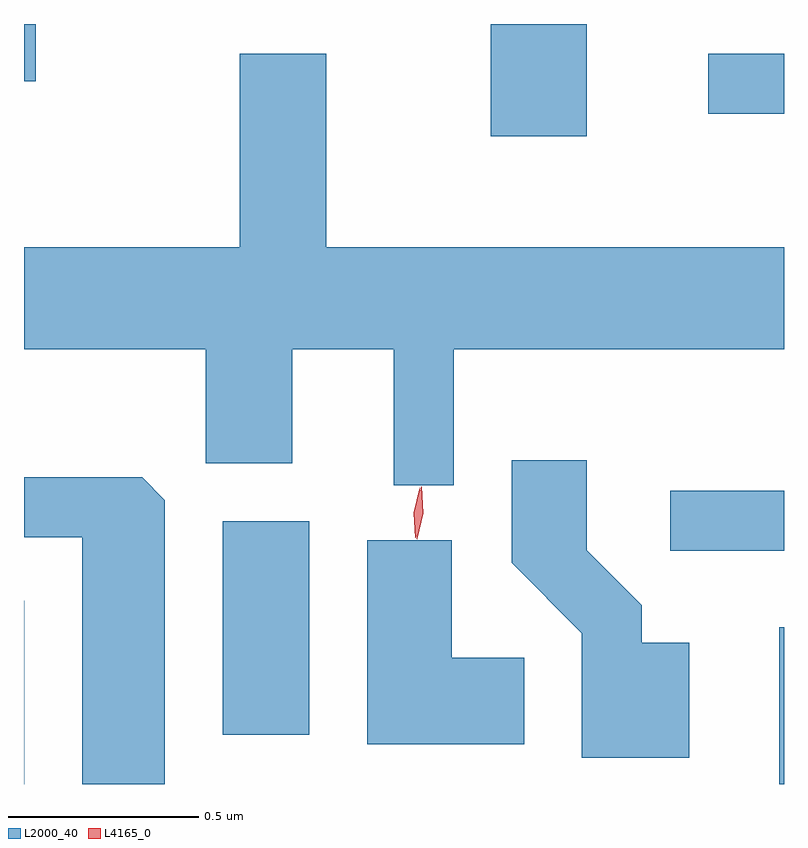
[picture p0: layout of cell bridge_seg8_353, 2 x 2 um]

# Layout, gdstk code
import gdstk
lib = gdstk.Library(unit=1e-6, precision=1e-09)
def R(c, l, rs):  # rectangles x0, y0, x1, y1
    for r in rs: c.add(gdstk.rectangle(r[:2], r[2:], *l))
def P(c, l, *ps):  # polygons
    for p in ps: c.add(gdstk.Polygon(p, *l))
L2000_40 = (2000, 40)
L4165_0 = (4165, 0)

bridge_seg8_353 = lib.new_cell('bridge_seg8_353')
R(bridge_seg8_353, L2000_40, [(622.123,1924.072,622.124,1924.554), (624.111,1924.072,624.123,1924.484), (622.646,1924.201,622.874,1924.764), (623.823,1924.686,624.123,1924.844), (623.351,1925.776,623.604,1926.072), (623.923,1925.836,624.123,1925.994), (622.123,1925.921,622.154,1926.072)])
P(bridge_seg8_353, L2000_40, [(623.254,1925.216),(624.123,1925.216),(624.123,1925.484),(622.919,1925.484),(622.919,1925.994),(622.691,1925.994),(622.691,1925.484),(622.123,1925.484),(622.123,1925.216),(622.601,1925.216),(622.601,1924.916),(622.829,1924.916),(622.829,1925.216),(623.096,1925.216),(623.096,1924.858),(623.254,1924.858)],
  [(623.874,1924.444),(623.749,1924.444),(623.749,1924.542),(623.604,1924.687),(623.604,1924.924),(623.406,1924.924),(623.406,1924.654),(623.591,1924.469),(623.591,1924.141),(623.874,1924.141)],
  [(622.494,1924.819),(622.434,1924.879),(622.123,1924.879),(622.123,1924.721),(622.276,1924.721),(622.276,1924.072),(622.494,1924.072)],
  [(623.439,1924.404),(623.249,1924.404),(623.249,1924.714),(623.026,1924.714),(623.026,1924.176),(623.439,1924.176)])
P(bridge_seg8_353, L4165_0, [(623.158,1924.716),(623.157,1924.717),(623.153,1924.786),(623.169,1924.854),(623.169,1924.854),(623.17,1924.854),(623.173,1924.785),(623.158,1924.717)],
  [(623.153,1924.72),(623.149,1924.786),(623.164,1924.851),(623.164,1924.852),(623.165,1924.851),(623.169,1924.785),(623.154,1924.72),(623.154,1924.72)])

lib.write_gds('bridge_seg8_353.gds')
